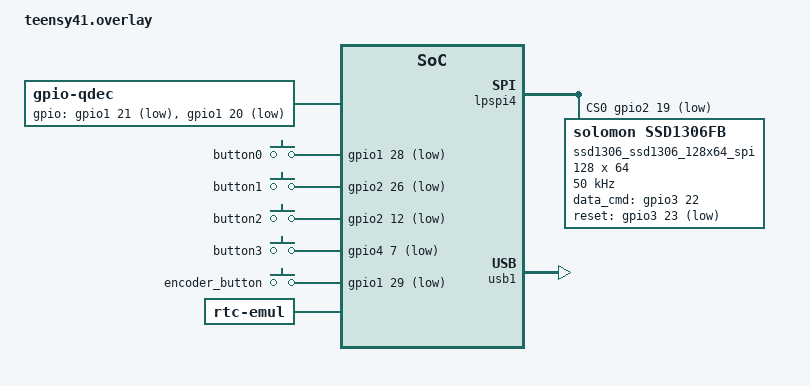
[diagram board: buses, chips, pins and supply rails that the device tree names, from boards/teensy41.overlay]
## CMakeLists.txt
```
cmake_minimum_required(VERSION 3.13.1)
set(CONFIG_APPLICATION_DEFINED_SYSCALL true)

#set(ZEPHYR_EXTRA_MODULES "${ZMK_EXTRA_MODULES};${CMAKE_CURRENT_SOURCE_DIR}/module;${CMAKE_CURRENT_SOURCE_DIR}/keymap-module")

# Find Zephyr. This also loads Zephyr's build system.
find_package(Zephyr REQUIRED HINTS ../zephyr)
project(app)

target_include_directories(app PRIVATE include)

target_sources(app PRIVATE src/main.c)
target_sources(app PRIVATE src/ui.c)
add_subdirectory(src/ui/)
```

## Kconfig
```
menu "Zephyr"
source "Kconfig.zephyr"
endmenu

module = APP
module-str = app
source "subsys/logging/Kconfig.template.log_config"

menu "Logging"

config APP_LOGGING_MINIMAL
    bool "Suppress all APP debug log messages"
    default false

if !APP_LOGGING_MINIMAL

config APP_LOG_LEVEL
    default 4

endif

config APP_USB_LOGGING
    bool "Enable USB CDC ACM logging to help debug"
    select LOG
    select USB_DEVICE_STACK
    select USB_CDC_ACM
    select SERIAL
    select CONSOLE
    select UART_INTERRUPT_DRIVEN
    select UART_LINE_CTRL
    select UART_CONSOLE

if APP_USB_LOGGING

choice USB_CDC_ACM_LOG_LEVEL_CHOICE
    default USB_CDC_ACM_LOG_LEVEL_OFF
endchoice

choice USB_DRIVER_LOG_LEVEL_CHOICE
    default USB_DRIVER_LOG_LEVEL_OFF
endchoice

# We do this to avoid log loop where logging to USB generates more log messages.

config USB_CDC_ACM_RINGBUF_SIZE
    default 1024

config LOG_PROCESS_THREAD_STARTUP_DELAY_MS
    default 1000

#APP_USB_LOGGING
endif

config APP_RTT_LOGGING
    bool "Enable RTT logging to help debug"
    select LOG
    select DEBUG
    select ASSERT
    select USE_SEGGER_RTT
    select CONSOLE
    select RTT_CONSOLE

if APP_RTT_LOGGING

config SEGGER_RTT_BUFFER_SIZE_UP
    default 8192

#APP_RTT_LOGGING
endif

if APP_USB_LOGGING || APP_RTT_LOGGING

config LOG_BUFFER_SIZE
    default 8192

config LOG_PROCESS_THREAD_SLEEP_MS
    default 100

#APP_USB_LOGGING || APP_RTT_LOGGING
endif

#Logging
endmenu

choice APP_DISPLAY_WORK_QUEUE
    prompt "Work queue selection for UI updates"

config APP_DISPLAY_WORK_QUEUE_SYSTEM
    bool "Use default system work queue for UI updates"

config APP_DISPLAY_WORK_QUEUE_DEDICATED
    bool "Use dedicated work queue for UI updates"

endchoice

if APP_DISPLAY_WORK_QUEUE_DEDICATED

config APP_DISPLAY_DEDICATED_THREAD_STACK_SIZE
    int "Stack size for dedicated UI thread/queue"
    default 16384

config APP_DISPLAY_DEDICATED_THREAD_PRIORITY
    int "Thread priority for dedicated UI thread/queue"
    default 5

endif # APP_DISPLAY_WORK_QUEUE_DEDICATED
```

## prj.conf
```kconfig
CONFIG_MAIN_STACK_SIZE=4096

CONFIG_APP_USB_LOGGING=y

CONFIG_USB_DEVICE_PRODUCT="Zephyr USB console sample"
CONFIG_USB_DEVICE_PID=0x0004
CONFIG_USB_DEVICE_INITIALIZE_AT_BOOT=y

CONFIG_INPUT=y
CONFIG_GPIO=y
CONFIG_RTC=y

CONFIG_DISPLAY=y
CONFIG_LVGL=y
CONFIG_LV_MEM_CUSTOM=y
CONFIG_LV_Z_MEM_POOL_SIZE=8192
CONFIG_LV_USE_LOG=y
CONFIG_LV_USE_LABEL=y
CONFIG_LV_USE_BTN=y
CONFIG_LV_USE_IMG=y
CONFIG_LV_USE_MONKEY=y
CONFIG_LV_FONT_MONTSERRAT_8=y
CONFIG_LV_Z_ENCODER_INPUT=y
CONFIG_LV_LOG_LEVEL_INFO=n
CONFIG_LV_Z_VDB_SIZE=64
CONFIG_LV_Z_BITS_PER_PIXEL=1
CONFIG_LV_COLOR_DEPTH_1=y

CONFIG_APP_DISPLAY_WORK_QUEUE_DEDICATED=y

CONFIG_DISPLAY_LOG_LEVEL_DBG=n
```

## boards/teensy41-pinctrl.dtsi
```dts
#include <nxp/nxp_imx/rt/mimxrt1062dvl6a-pinctrl.dtsi>


&pinctrl {
    pinmux_lpspi4: pinmux_lpspi4 {
        group0 {
            pinmux = <&iomuxc_gpio_b1_02_lpspi4_pcs2>,
                <&iomuxc_gpio_b0_03_lpspi4_sck>,
                <&iomuxc_gpio_b0_01_lpspi4_sdi>,
                <&iomuxc_gpio_b0_02_lpspi4_sdo>;
            drive-strength = "r0-6";
            slew-rate = "slow";
            nxp,speed = "100-mhz";
        };
    };
};
```

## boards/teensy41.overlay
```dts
#include "teensy41-pinctrl.dtsi"
#include <zephyr/dt-bindings/input/input-event-codes.h>
#include <zephyr/dt-bindings/lvgl/lvgl.h>

/ {
    aliases {
		sw0 = &button0;
		sw1 = &button1;
		sw2 = &button2;
		sw3 = &button3;
	};
    
    chosen {
		zephyr,display = &ssd1306_ssd1306_128x64_spi;
        zephyr,console = &cdc_acm_uart;
		app,rtc = &rtc;
	};

    qdec {
		compatible = "gpio-qdec";
		gpios = <&gpio1 21 (GPIO_ACTIVE_LOW|GPIO_PULL_UP)>, <&gpio1 20 (GPIO_ACTIVE_LOW|GPIO_PULL_UP)>;
		steps-per-period = <4>;
		zephyr,axis = <INPUT_REL_WHEEL>;
		sample-time-us = <1500>;
		idle-timeout-ms = <200>;
	};

    keys: keys {
		compatible = "gpio-keys";
		button0: button0 {
			gpios = <&gpio1 28 (GPIO_ACTIVE_LOW|GPIO_PULL_UP)>;
			zephyr,code = <INPUT_KEY_R>;
		};
		button1: button1 {
			gpios = <&gpio2 26 (GPIO_ACTIVE_LOW|GPIO_PULL_UP)>;
			zephyr,code = <INPUT_KEY_T>;
		};
		button2: button2 {
			gpios = <&gpio2 12 (GPIO_ACTIVE_LOW|GPIO_PULL_UP)>;
			zephyr,code = <INPUT_KEY_Y>;
		};
		button3: button3 {
			gpios = <&gpio4 7 (GPIO_ACTIVE_LOW|GPIO_PULL_UP)>;
			zephyr,code = <INPUT_KEY_U>;
		};

		encoder_button: encoder_button {
			gpios = <&gpio1 29 (GPIO_ACTIVE_LOW|GPIO_PULL_UP)>;
			zephyr,code = <INPUT_KEY_ENTER>;
		};
	};

	lvgl_button_input {
		compatible = "zephyr,lvgl-button-input";
		input = <&keys>;
		input-codes = <INPUT_KEY_R>;
		coordinates = <160 120>;
	};

	lvgl_encoder_input {
		compatible = "zephyr,lvgl-encoder-input";
		rotation-input-code = <INPUT_REL_WHEEL>;
		button-input-code = <INPUT_KEY_ENTER>;
	};

	rtc: rtc {
        status = "okay";
        compatible = "zephyr,rtc-emul";
    };

};

&lpspi4 {
	pinctrl-0 = <&pinmux_lpspi4>;
	pinctrl-names = "default";
    status = "okay";
    cs-gpios = <&gpio2 19 GPIO_ACTIVE_LOW>;

    ssd1306_ssd1306_128x64_spi: ssd1306@0 {
        compatible = "solomon,ssd1306fb";
        reg = <0x0>;
        spi-max-frequency = <50000>;
        width = <128>;
        height = <64>;
        segment-offset = <0>;
        page-offset = <0>;
        display-offset = <0>;
        multiplex-ratio = <63>;
        segment-remap;
        com-invdir;
        //inversion-on;
        prechargep = <0x22>;
        data_cmd-gpios = <&gpio3 22 GPIO_ACTIVE_HIGH>;
        reset-gpios = <&gpio3 23 GPIO_ACTIVE_LOW>;
    };
};


&flexcan1 {
	pinctrl-0 = <&pinmux_flexcan1>;
	pinctrl-names = "default";
	status = "disabled";
};

zephyr_udc0: &usb1 {
	status = "okay";
    cdc_acm_uart: cdc_acm_uart {
        compatible = "zephyr,cdc-acm-uart";
    };
};
```

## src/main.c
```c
#include <zephyr/device.h>
#include <zephyr/devicetree.h>
#include <zephyr/kernel.h>

#include <ui.h>

BUILD_ASSERT(DT_NODE_HAS_COMPAT(DT_CHOSEN(zephyr_console), zephyr_cdc_acm_uart),
             "Console device is not ACM CDC UART device");

#include <zephyr/logging/log.h>
LOG_MODULE_REGISTER(app, CONFIG_APP_LOG_LEVEL);

int main(void) {

    LOG_INF("Welcome to ZMK!\n");

    app_display_init();

    while (1) {
        k_msleep(1000);
    }
    return 0;
}
```

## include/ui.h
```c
#pragma once

#include <lvgl.h>


int app_display_init();
void app_display_load_new(lv_obj_t *newscreen);
struct k_work_q *app_display_work_q(void);

void app_display_return_to_status();
```

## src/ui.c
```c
#include <zephyr/device.h>
#include <zephyr/devicetree.h>
#include <zephyr/drivers/display.h>
#include <zephyr/drivers/gpio.h>
#include <zephyr/drivers/rtc.h>
#include <lvgl.h>
#include <stdio.h>
#include <string.h>
#include <zephyr/kernel.h>
#include <lvgl_input_device.h>
#include <zephyr/logging/log.h>
#include <ui.h>
#include <ui/datetime.h>
#include <ui/time.h>

#include <time.h>

LOG_MODULE_DECLARE(app, CONFIG_APP_LOG_LEVEL);

static const struct device *display = DEVICE_DT_GET(DT_CHOSEN(zephyr_display));

static const struct device *rtc = DEVICE_DT_GET(DT_CHOSEN(app_rtc));

static struct app_widget_time_status time_status_widget;

static lv_obj_t *screen;

void display_tick_cb(struct k_work *work) { lv_task_handler(); }

#define TICK_MS 10

K_WORK_DEFINE(display_tick_work, display_tick_cb);

#if IS_ENABLED(CONFIG_APP_DISPLAY_WORK_QUEUE_DEDICATED)

K_THREAD_STACK_DEFINE(display_work_stack_area, CONFIG_APP_DISPLAY_DEDICATED_THREAD_STACK_SIZE);

static struct k_work_q display_work_q;

#endif

struct k_work_q *app_display_work_q() {
#if IS_ENABLED(CONFIG_APP_DISPLAY_WORK_QUEUE_DEDICATED)
    return &display_work_q;
#else
    return &k_sys_work_q;
#endif
}

void display_timer_cb() { k_work_submit_to_queue(app_display_work_q(), &display_tick_work); }

K_TIMER_DEFINE(display_timer, display_timer_cb, NULL);

void unblank_display_cb(struct k_work *work) {
    display_blanking_off(display);
    k_timer_start(&display_timer, K_MSEC(TICK_MS), K_MSEC(TICK_MS));
}

void app_display_load_new(lv_obj_t *newscreen) {
    screen = newscreen;
    lv_scr_load_anim(screen, LV_SCR_LOAD_ANIM_NONE, 0, 0, true);
}

lv_obj_t *app_display_status_screen() {
    lv_obj_t *screen2;
    screen2 = lv_obj_create(NULL);

    struct rtc_time datetime_get;
    if (rtc_get_time(rtc, &datetime_get)) {
        LOG_INF("RTC hasn't got the time, go to time setting system");
        lv_obj_del(screen2);
        return year_select_screen();
    }

    app_widget_time_status_init(&time_status_widget, screen2);
    lv_obj_align(app_widget_time_status_obj(&time_status_widget), LV_ALIGN_TOP_LEFT, 0, 0);

    return screen2;
}

void app_display_return_to_status() { app_display_load_new(app_display_status_screen()); }

void initialize_display(struct k_work *work) {
    LOG_INF("Hello from display");

    if (!device_is_ready(display)) {
        LOG_ERR("Failed to find display device");
        return;
    }

    screen = app_display_status_screen();

    if (screen == NULL) {
        LOG_ERR("No status screen provided");
        return;
    }

    lv_scr_load(screen);

    lv_task_handler();
    unblank_display_cb(work);
}

K_WORK_DEFINE(init_work, initialize_display);

int app_display_init() {
#if IS_ENABLED(CONFIG_APP_DISPLAY_WORK_QUEUE_DEDICATED)
    k_work_queue_start(&display_work_q, display_work_stack_area,
                       K_THREAD_STACK_SIZEOF(display_work_stack_area),
                       CONFIG_APP_DISPLAY_DEDICATED_THREAD_PRIORITY, NULL);
#endif

    k_work_submit_to_queue(app_display_work_q(), &init_work);

    LOG_INF("Dispinit");
    return 0;
}
```
